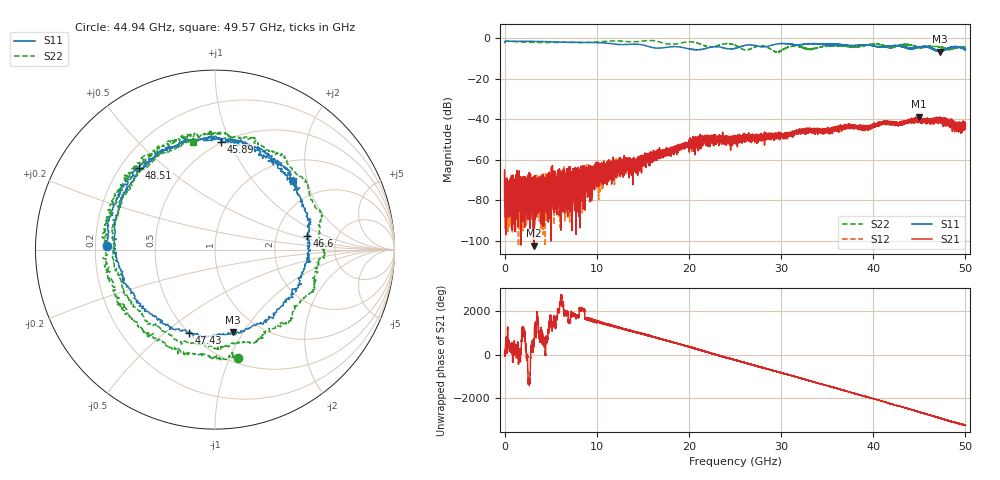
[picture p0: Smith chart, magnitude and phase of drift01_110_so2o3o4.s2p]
!Created with skrf (http://scikit-rf.org).
# Hz S RI R 50.0
!freq ReS11 ImS11 ReS21 ImS21 ReS12 ImS12 ReS22 ImS22
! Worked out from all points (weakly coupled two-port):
!   10001 points, 300 kHz to 50 GHz, reference 50 ohm
!   highest |S21| = -38.71 dB at 44.97 GHz (marker M1); lowest = -102.4 dB at 3.17 GHz (marker M2)
!   lowest |S11| = -6.6 dB at 47.21 GHz (marker M3), VSWR 2.77, Z = 38 - j44.8 ohm
!   |S11| at or under -10 dB: nowhere
!   |S22| runs from -6.8 to -1.0 dB; largest |S21 - S12| = 0.004
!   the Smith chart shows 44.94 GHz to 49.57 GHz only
!   S11 on the Smith chart (normalised r, x): 44.94 GHz: 0.25, +0.02; 45.89 GHz: 0.49, +0.93; 46.6 GHz: 2.99, +0.63; 47.43 GHz: 0.50, -0.61; 48.51 GHz: 0.27, +0.41; 49.57 GHz: 1.42, +1.65
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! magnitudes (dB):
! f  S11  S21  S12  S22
! 300 kHz  -2.1  -65.0  -65.7  -1.3
! 280.3 MHz  -1.4  -74.9  -72.6  -1.4
! 3.17 GHz  -1.5  -102.4  -76.8  -2.0
! 8.335 GHz  -1.9  -70.2  -67.5  -2.1
! 16.67 GHz  -4.8  -57.9  -57.7  -1.6
! 21.79 GHz  -5.0  -49.9  -49.9  -3.7
! 25 GHz  -5.0  -49.0  -48.4  -3.4
! 26.19 GHz  -3.4  -48.8  -49.5  -5.7
! 28.09 GHz  -4.2  -48.7  -49.7  -3.8
! 29.52 GHz  -2.8  -46.8  -47.4  -6.8
! 31.29 GHz  -3.0  -47.7  -46.8  -4.0
! 33.34 GHz  -2.6  -45.8  -45.4  -5.5
! 41.67 GHz  -3.9  -41.3  -41.3  -4.5
! 44.94 GHz  -4.4  -40.0  -39.8  -4.2
! 44.97 GHz  -4.5  -38.7  -39.9  -4.4
! 45.89 GHz  -4.4  -40.9  -40.7  -4.0
! 46.6 GHz  -5.7  -41.0  -40.4  -3.8
! 47.21 GHz  -6.6  -39.4  -40.5  -4.4
! 47.43 GHz  -6.3  -39.5  -40.6  -4.4
! 48.51 GHz  -4.1  -39.8  -42.8  -5.2
! 49.57 GHz  -4.7  -42.9  -41.6  -4.3
! 50 GHz  -5.5  -42.6  -44.1  -4.2
